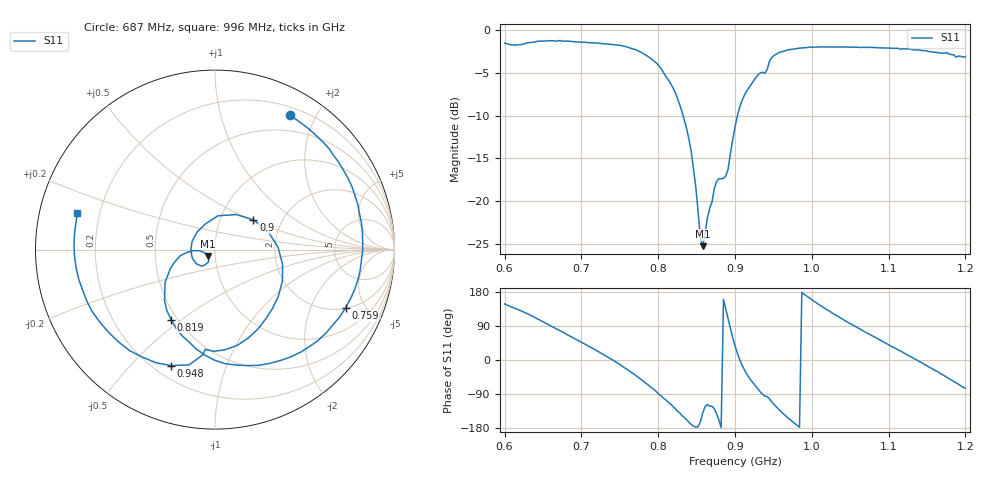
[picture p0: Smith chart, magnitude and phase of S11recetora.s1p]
# HZ S RI R 50
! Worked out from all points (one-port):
!   201 points, 600 MHz to 1.2 GHz, reference 50 ohm
!   lowest |S11| = -25.3 dB at 858 MHz (marker M1), VSWR 1.12, Z = 45.9 - j3.27 ohm
!   |S11| at or under -10 dB: 832.4 MHz to 903.2 MHz (70.84 MHz wide, 8.16 % of centre)
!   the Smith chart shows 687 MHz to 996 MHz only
!   S11 on the Smith chart (normalised r, x): 687 MHz: 0.30, +1.66; 759 MHz: 2.04, -3.61; 819 MHz: 0.46, -0.46; 900 MHz: 1.44, +0.51; 948 MHz: 0.26, -0.66; 996 MHz: 0.12, +0.13
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6e8  -0.7115 0.4436
6.45e8  -0.2439 0.8264
6.75e8  0.2323 0.8307
6.87e8  0.4156 0.7488
7.2e8  0.7636 0.3494
7.5e8  0.797 -0.1653
7.59e8  0.7272 -0.3243
7.89e8  0.2437 -0.6446
8.01e8  -0.00106 -0.6168
8.19e8  -0.2444 -0.3901
8.25e8  -0.281 -0.2845
8.43e8  -0.1921 -0.0332
8.58e8  -0.0414 -0.0355
8.73e8  -0.0733 -0.0924
8.85e8  -0.1274 0.0468
9e8  0.2139 0.1661
9.06e8  0.3517 0.012
9.15e8  0.3536 -0.2579
9.3e8  0.1255 -0.5326
9.48e8  -0.2466 -0.6459
9.75e8  -0.7372 -0.2265
9.96e8  -0.7661 0.2059
1.02e9  -0.5359 0.5893
1.05e9  -0.0855 0.788
1.086e9  0.4422 0.6532
1.125e9  0.7558 0.1757
1.164e9  0.6345 -0.374
1.2e9  0.1876 -0.6728
